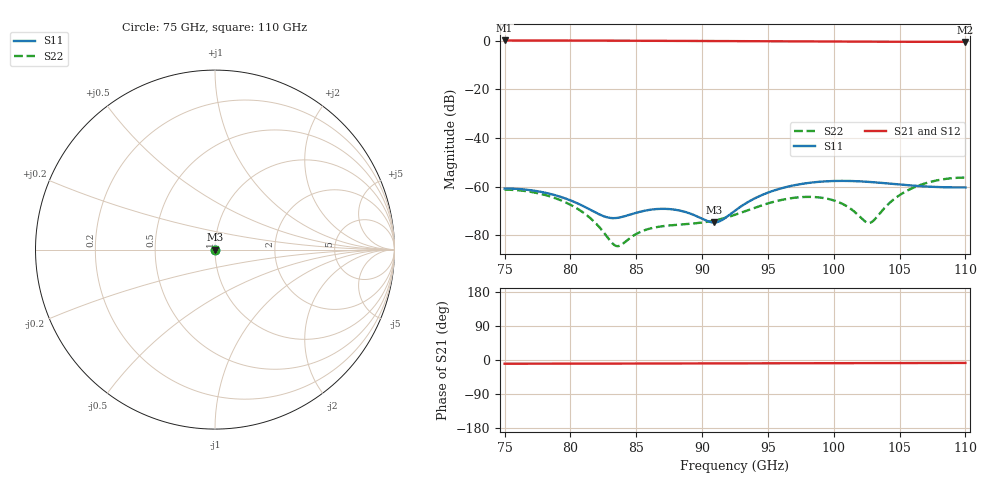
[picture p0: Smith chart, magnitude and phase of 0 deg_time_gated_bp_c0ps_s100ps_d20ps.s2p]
# Hz S RI R 50.000000
! Metas.Vna.Tools, 2.4.7724.19584
! Metas.Vna.Data, 2.4.7724.19560
! Created: UTC 2021.04.29 12:40:10
! FREQ  re:S1,1  im:S1,1  re:S2,1  im:S2,1  re:S1,2  im:S1,2  re:S2,2  im:S2,2
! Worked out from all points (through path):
!   1401 points, 75 GHz to 110 GHz, reference 50 ohm
!   highest |S21| = 0.03 dB at 75 GHz (marker M1); lowest = -0.5 dB at 110 GHz (marker M2)
!   lowest |S11| = -74.7 dB at 90.9 GHz (marker M3), VSWR 1.00, Z = 50 - j0.00178 ohm
!   |S11| at or under -10 dB: start of sweep to end of sweep
!   |S22| runs from -84.4 to -56.2 dB; largest |S21 - S12| = 0.036
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7.5e10  -0.000511 -0.000766  0.9892 -0.1709  0.9901 -0.1789  -0.000753 0.000438
7.8175e10  -0.000466 -0.000581  0.988 -0.1698  0.9891 -0.1774  -0.000579 0.000329
8.085e10  -0.000353 -0.000221  0.9853 -0.1671  0.9867 -0.1737  -0.000281 0.000134
8.285e10  -0.000224 6.51e-05  0.9823 -0.1642  0.9841 -0.1696  -8.9e-05 -4.72e-06
8.36e10  -0.000169 0.000157  0.981 -0.163  0.9829 -0.1678  -3.84e-05 -4.66e-05
8.4725e10  -8.34e-05 0.000265  0.9789 -0.161  0.981 -0.1648  1.2e-05 -9.6e-05
8.6675e10  5.82e-05 0.000346  0.9748 -0.1573  0.9774 -0.159  3.75e-05 -0.000146
8.845e10  0.000153 0.000279  0.9706 -0.1537  0.9737 -0.153  2.84e-05 -0.000166
9.09e10  0.000184 -1.78e-05  0.9645 -0.1487  0.9682 -0.144  5.73e-05 -0.000194
9.15e10  0.00017 -0.000118  0.963 -0.1474  0.9668 -0.1417  8.14e-05 -0.000205
9.25e10  0.000126 -0.000298  0.9604 -0.1454  0.9644 -0.1378  0.000139 -0.000227
9.5075e10  -8.69e-05 -0.000765  0.9538 -0.1406  0.9584 -0.1276  0.000356 -0.000293
9.6775e10  -0.00028 -0.001  0.9496 -0.1377  0.9545 -0.121  0.000493 -0.000312
9.835e10  -0.000466 -0.00113  0.9459 -0.1354  0.9511 -0.1152  0.00055 -0.000281
1.0055e11  -0.000695 -0.00112  0.9413 -0.1325  0.9468 -0.1077  0.000443 -0.000127
1.02625e11  -0.000846 -0.000934  0.9376 -0.1304  0.9434 -0.1016  0.000117 0.000138
1.0305e11  -0.000868 -0.00088  0.9369 -0.13  0.9427 -0.1005  2.81e-05 0.000203
1.04175e11  -0.000912 -0.000723  0.9353 -0.1291  0.9412 -0.0979  -0.000229 0.000385
1.053e11  -0.000938 -0.000559  0.934 -0.1284  0.94 -0.0957  -0.000498 0.000568
1.06675e11  -0.000952 -0.000375  0.9327 -0.1277  0.9388 -0.0935  -0.000804 0.000769
1.08275e11  -0.000955 -0.000219  0.9318 -0.1273  0.9379 -0.092  -0.00107 0.000937
1.1e11  -0.000954 -0.000156  0.9314 -0.1271  0.9376 -0.0914  -0.00117 0.00101
